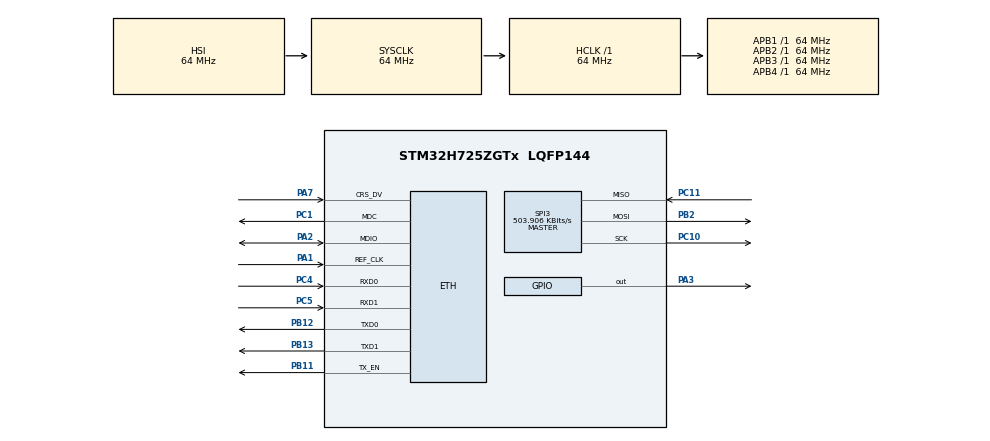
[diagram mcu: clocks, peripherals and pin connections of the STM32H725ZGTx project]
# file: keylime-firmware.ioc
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CORTEX_M7.AccessPermission_S-Cortex_Memory_Protection_Unit_Region1_Settings_S=MPU_REGION_FULL_ACCESS
CORTEX_M7.AccessPermission_S-Cortex_Memory_Protection_Unit_Region2_Settings_S=MPU_REGION_FULL_ACCESS
CORTEX_M7.BaseAddress_S-Cortex_Memory_Protection_Unit_Region1_Settings_S=0x30000000
CORTEX_M7.BaseAddress_S-Cortex_Memory_Protection_Unit_Region2_Settings_S=0x30000000
CORTEX_M7.CPU_DCache=Enabled
CORTEX_M7.CPU_ICache=Enabled
CORTEX_M7.DisableExec_S-Cortex_Memory_Protection_Unit_Region1_Settings_S=MPU_INSTRUCTION_ACCESS_DISABLE
CORTEX_M7.DisableExec_S-Cortex_Memory_Protection_Unit_Region2_Settings_S=MPU_INSTRUCTION_ACCESS_DISABLE
CORTEX_M7.Enable_S-Cortex_Memory_Protection_Unit_Region1_Settings_S=MPU_REGION_ENABLE
CORTEX_M7.Enable_S-Cortex_Memory_Protection_Unit_Region2_Settings_S=MPU_REGION_ENABLE
CORTEX_M7.IsBufferable_S-Cortex_Memory_Protection_Unit_Region2_Settings_S=MPU_ACCESS_BUFFERABLE
CORTEX_M7.IsShareable_S-Cortex_Memory_Protection_Unit_Region2_Settings_S=MPU_ACCESS_SHAREABLE
CORTEX_M7.Size_S-Cortex_Memory_Protection_Unit_Region1_Settings_S=MPU_REGION_SIZE_32KB
CORTEX_M7.Size_S-Cortex_Memory_Protection_Unit_Region2_Settings_S=MPU_REGION_SIZE_512B
CORTEX_M7.TypeExtField_S-Cortex_Memory_Protection_Unit_Region1_Settings_S=MPU_TEX_LEVEL1
CORTEX_M7.default_mode_Activation=1
ETH.MediaInterface=HAL_ETH_RMII_MODE
ETH.TxDescAddress=0x30000100
FREERTOS.Tasks01=defaultTask,24,512,StartDefaultTask,Default,NULL,Dynamic,NULL,NULL
FREERTOS.configMINIMAL_STACK_SIZE=512
FREERTOS.configUSE_NEWLIB_REENTRANT=1
LWIP.BSP.number=1
LWIP.IP_ADDRESS=192.168.050.010
LWIP.LWIP_DHCP=0
LWIP.LWIP_RAM_HEAP_POINTER=0x30000200
LWIP.MEM_SIZE=32232
LWIP.NETMASK_ADDRESS=255.255.255.000
LWIP.Version=v2.1.2_Cube
LWIP0.BSP.STBoard=false
LWIP0.BSP.api=BSP_COMPONENT_DRIVER
LWIP0.BSP.component=LAN8742
LWIP0.BSP.instance=LAN8742
LWIP0.BSP.name=Driver_PHY
LWIP0.BSP.semaphore=S_LAN8742
LWIP0.BSP.solution=LAN8742
Mcu.Family=STM32H7
Mcu.Name=STM32H725ZGTx
Mcu.Package=LQFP144
NVIC.ETH_IRQn=true\:5\:0\:false\:false\:true\:true\:true\:true\:true
NVIC.PriorityGroup=NVIC_PRIORITYGROUP_4
NVIC.TIM6_DAC_IRQn=true\:15\:0\:false\:false\:true\:false\:false\:true\:true
NVIC.TimeBase=TIM6_DAC_IRQn
NVIC.TimeBaseIP=TIM6
PA1.GPIO_Speed=GPIO_SPEED_FREQ_VERY_HIGH
PA1.Mode=RMII
PA1.Signal=ETH_REF_CLK
PA2.GPIO_Speed=GPIO_SPEED_FREQ_VERY_HIGH
PA2.Mode=RMII
PA2.Signal=ETH_MDIO
PA3.Signal=GPIO_Output
PA7.GPIO_Speed=GPIO_SPEED_FREQ_VERY_HIGH
PA7.Mode=RMII
PA7.Signal=ETH_CRS_DV
PB11.GPIO_Speed=GPIO_SPEED_FREQ_VERY_HIGH
PB11.Mode=RMII
PB11.Signal=ETH_TX_EN
PB12.GPIO_Speed=GPIO_SPEED_FREQ_VERY_HIGH
PB12.Mode=RMII
PB12.Signal=ETH_TXD0
PB13.GPIO_Speed=GPIO_SPEED_FREQ_VERY_HIGH
PB13.Mode=RMII
PB13.Signal=ETH_TXD1
PB2.GPIO_Mode=GPIO_MODE_AF_PP
PB2.GPIO_PuPd=GPIO_NOPULL
PB2.GPIO_Speed=GPIO_SPEED_FREQ_MEDIUM
PB2.Mode=Full_Duplex_Master
PB2.Signal=SPI3_MOSI
PC1.GPIO_Speed=GPIO_SPEED_FREQ_VERY_HIGH
PC1.Mode=RMII
PC1.Signal=ETH_MDC
PC10.GPIO_PuPd=GPIO_NOPULL
PC10.GPIO_Speed=GPIO_SPEED_FREQ_MEDIUM
PC10.Mode=Full_Duplex_Master
PC10.Signal=SPI3_SCK
PC11.GPIO_Mode=GPIO_MODE_AF_PP
PC11.GPIO_PuPd=GPIO_NOPULL
PC11.GPIO_Speed=GPIO_SPEED_FREQ_MEDIUM
PC11.Mode=Full_Duplex_Master
PC11.Signal=SPI3_MISO
PC4.GPIO_Speed=GPIO_SPEED_FREQ_VERY_HIGH
PC4.Mode=RMII
PC4.Signal=ETH_RXD0
PC5.GPIO_Speed=GPIO_SPEED_FREQ_VERY_HIGH
PC5.Mode=RMII
PC5.Signal=ETH_RXD1
ProjectManager.HeapSize=0x200
ProjectManager.StackSize=0x400
ProjectManager.TargetToolchain=STM32CubeIDE
RCC.ADCFreq_Value=129000000
RCC.APB1Freq_Value=64000000
RCC.APB2Freq_Value=64000000
RCC.APB3Freq_Value=64000000
RCC.APB4Freq_Value=64000000
RCC.CortexFreq_Value=64000000
RCC.HCLKFreq_Value=64000000
RCC.PWR_Regulator_Voltage_Scale=PWR_REGULATOR_VOLTAGE_SCALE0
RCC.SYSCLKFreq_VALUE=64000000
RCC.SupplySource=PWR_LDO_SUPPLY
RCC.USBFreq_Value=129000000
SPI3.BaudRatePrescaler=SPI_BAUDRATEPRESCALER_256
SPI3.CalculateBaudRate=503.906 KBits/s
SPI3.DataSize=SPI_DATASIZE_8BIT
SPI3.Direction=SPI_DIRECTION_2LINES
SPI3.Mode=SPI_MODE_MASTER
SPI3.VirtualType=VM_MASTER
VP_FREERTOS_VS_CMSIS_V2.Mode=CMSIS_V2
VP_LWIP_VS_Enabled.Mode=Enabled
VP_MEMORYMAP_VS_MEMORYMAP.Mode=CurAppReg
VP_SYS_VS_tim6.Mode=TIM6
board=custom

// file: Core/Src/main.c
/* USER CODE BEGIN Header */
/**
  ******************************************************************************
  * @file           : main.c
  * @brief          : Main program body
  ******************************************************************************
  * @attention
  *
  * Copyright (c) 2025 STMicroelectronics.
  * All rights reserved.
  *
  * This software is licensed under terms that can be found in the LICENSE file
  * in the root directory of this software component.
  * If no LICENSE file comes with this software, it is provided AS-IS.
  *
  ******************************************************************************
  */
/* USER CODE END Header */
#include "main.h"
#include "cmsis_os.h"
#include "lwip.h"

/* USER CODE BEGIN Includes */
#include "MS5611.h"
/* USER CODE END Includes */

SPI_HandleTypeDef hspi3;

/* Definitions for defaultTask */
osThreadId_t defaultTaskHandle;
const osThreadAttr_t defaultTask_attributes = {
  .name = "defaultTask",
  .stack_size = 512 * 4,
  .priority = (osPriority_t) osPriorityNormal,
};

void SystemClock_Config(void);
static void MPU_Config(void);
static void MX_GPIO_Init(void);
static void MX_SPI3_Init(void);
void StartDefaultTask(void *argument);

int main(void)
{

  /* MPU Configuration--------------------------------------------------------*/
  MPU_Config();

  /* Enable the CPU Cache */

  /* Enable I-Cache---------------------------------------------------------*/
  SCB_EnableICache();

  /* Enable D-Cache---------------------------------------------------------*/
  SCB_EnableDCache();

  /* MCU Configuration--------------------------------------------------------*/

  /* Reset of all peripherals, Initializes the Flash interface and the Systick. */
  HAL_Init();

  /* Configure the system clock */
  SystemClock_Config();

  /* Initialize all configured peripherals */
  MX_GPIO_Init();
  MX_SPI3_Init();

  /* Init scheduler */
  osKernelInitialize();

  /* Create the thread(s) */
  /* creation of defaultTask */
  defaultTaskHandle = osThreadNew(StartDefaultTask, NULL, &defaultTask_attributes);

  /* Start scheduler */
  osKernelStart();

  /* We should never get here as control is now taken by the scheduler */

  /* Infinite loop */
  while (1)
  {

  }
}

void SystemClock_Config(void)
{
  RCC_OscInitTypeDef RCC_OscInitStruct = {0};
  RCC_ClkInitTypeDef RCC_ClkInitStruct = {0};

  /** Supply configuration update enable
  */
  HAL_PWREx_ConfigSupply(PWR_LDO_SUPPLY);

  /** Configure the main internal regulator output voltage
  */
  __HAL_PWR_VOLTAGESCALING_CONFIG(PWR_REGULATOR_VOLTAGE_SCALE0);

  while(!__HAL_PWR_GET_FLAG(PWR_FLAG_VOSRDY)) {}

  /** Initializes the RCC Oscillators according to the specified parameters
  * in the RCC_OscInitTypeDef structure.
  */
  RCC_OscInitStruct.OscillatorType = RCC_OSCILLATORTYPE_HSI;
  RCC_OscInitStruct.HSIState = RCC_HSI_DIV1;
  RCC_OscInitStruct.HSICalibrationValue = 64;
  RCC_OscInitStruct.PLL.PLLState = RCC_PLL_ON;
  RCC_OscInitStruct.PLL.PLLSource = RCC_PLLSOURCE_HSI;
  RCC_OscInitStruct.PLL.PLLM = 32;
  RCC_OscInitStruct.PLL.PLLN = 129;
  RCC_OscInitStruct.PLL.PLLP = 2;
  RCC_OscInitStruct.PLL.PLLQ = 2;
  RCC_OscInitStruct.PLL.PLLR = 2;
  RCC_OscInitStruct.PLL.PLLRGE = RCC_PLL1VCIRANGE_1;
  RCC_OscInitStruct.PLL.PLLVCOSEL = RCC_PLL1VCOWIDE;
  RCC_OscInitStruct.PLL.PLLFRACN = 0;
  if (HAL_RCC_OscConfig(&RCC_OscInitStruct) != HAL_OK)
  {
    Error_Handler();
  }

  /** Initializes the CPU, AHB and APB buses clocks
  */
  RCC_ClkInitStruct.ClockType = RCC_CLOCKTYPE_HCLK|RCC_CLOCKTYPE_SYSCLK
                              |RCC_CLOCKTYPE_PCLK1|RCC_CLOCKTYPE_PCLK2
                              |RCC_CLOCKTYPE_D3PCLK1|RCC_CLOCKTYPE_D1PCLK1;
  RCC_ClkInitStruct.SYSCLKSource = RCC_SYSCLKSOURCE_HSI;
  RCC_ClkInitStruct.SYSCLKDivider = RCC_SYSCLK_DIV1;
  RCC_ClkInitStruct.AHBCLKDivider = RCC_HCLK_DIV1;
  RCC_ClkInitStruct.APB3CLKDivider = RCC_APB3_DIV1;
  RCC_ClkInitStruct.APB1CLKDivider = RCC_APB1_DIV1;
  RCC_ClkInitStruct.APB2CLKDivider = RCC_APB2_DIV1;
  RCC_ClkInitStruct.APB4CLKDivider = RCC_APB4_DIV1;

  if (HAL_RCC_ClockConfig(&RCC_ClkInitStruct, FLASH_LATENCY_0) != HAL_OK)
  {
    Error_Handler();
  }
}

static void MX_SPI3_Init(void)
{

  /* SPI3 parameter configuration*/
  hspi3.Instance = SPI3;
  hspi3.Init.Mode = SPI_MODE_MASTER;
  hspi3.Init.Direction = SPI_DIRECTION_2LINES;
  hspi3.Init.DataSize = SPI_DATASIZE_8BIT;
  hspi3.Init.CLKPolarity = SPI_POLARITY_LOW;
  hspi3.Init.CLKPhase = SPI_PHASE_1EDGE;
  hspi3.Init.NSS = SPI_NSS_SOFT;
  hspi3.Init.BaudRatePrescaler = SPI_BAUDRATEPRESCALER_256;
  hspi3.Init.FirstBit = SPI_FIRSTBIT_MSB;
  hspi3.Init.TIMode = SPI_TIMODE_DISABLE;
  hspi3.Init.CRCCalculation = SPI_CRCCALCULATION_DISABLE;
  hspi3.Init.CRCPolynomial = 0x0;
  hspi3.Init.NSSPMode = SPI_NSS_PULSE_ENABLE;
  hspi3.Init.NSSPolarity = SPI_NSS_POLARITY_LOW;
  hspi3.Init.FifoThreshold = SPI_FIFO_THRESHOLD_01DATA;
  hspi3.Init.TxCRCInitializationPattern = SPI_CRC_INITIALIZATION_ALL_ZERO_PATTERN;
  hspi3.Init.RxCRCInitializationPattern = SPI_CRC_INITIALIZATION_ALL_ZERO_PATTERN;
  hspi3.Init.MasterSSIdleness = SPI_MASTER_SS_IDLENESS_00CYCLE;
  hspi3.Init.MasterInterDataIdleness = SPI_MASTER_INTERDATA_IDLENESS_00CYCLE;
  hspi3.Init.MasterReceiverAutoSusp = SPI_MASTER_RX_AUTOSUSP_DISABLE;
  hspi3.Init.MasterKeepIOState = SPI_MASTER_KEEP_IO_STATE_DISABLE;
  hspi3.Init.IOSwap = SPI_IO_SWAP_DISABLE;
  if (HAL_SPI_Init(&hspi3) != HAL_OK)
  {
    Error_Handler();
  }

}

static void MX_GPIO_Init(void)
{
  GPIO_InitTypeDef GPIO_InitStruct = {0};

  /* GPIO Ports Clock Enable */
  __HAL_RCC_GPIOC_CLK_ENABLE();
  __HAL_RCC_GPIOA_CLK_ENABLE();
  __HAL_RCC_GPIOB_CLK_ENABLE();

  /*Configure GPIO pin Output Level */
  HAL_GPIO_WritePin(GPIOA, GPIO_PIN_3, GPIO_PIN_RESET);

  /*Configure GPIO pin : PA3 */
  GPIO_InitStruct.Pin = GPIO_PIN_3;
  GPIO_InitStruct.Mode = GPIO_MODE_OUTPUT_PP;
  GPIO_InitStruct.Pull = GPIO_NOPULL;
  GPIO_InitStruct.Speed = GPIO_SPEED_FREQ_LOW;
  HAL_GPIO_Init(GPIOA, &GPIO_InitStruct);

}

void StartDefaultTask(void *argument)
{
  /* init code for LWIP */
  MX_LWIP_Init();
  /* USER CODE BEGIN 5 */
  MS5611 bar2;
  bar2.hspi = &hspi3;
  bar2.SPI_TIMEOUT = 100;
  bar2.CS_GPIO_Port = GPIOA; // PA3
  bar2.CS_GPIO_Pin = GPIO_PIN_3;
  bar2.pres_offset = 0;
  bar2.alt_offset = 0;

  MS5611_PROM_t prom;
  prom.constants.C1 = 0;
  prom.constants.C2 = 0;
  prom.constants.C3 = 0;
  prom.constants.C4 = 0;
  prom.constants.C5 = 0;
  prom.constants.C6 = 0;

  //int status = 0;
  MS5611_Reset(&bar2);
  MS5611_readPROM(&bar2, &prom);

  float pres = 0.0;

  /* Infinite loop */
  for(;;) {
    MS5611_getPres(&bar2, &pres, &prom, OSR_256);
    osDelay(500);
  }
  /* USER CODE END 5 */
}

 /* MPU Configuration */

void MPU_Config(void)
{
  MPU_Region_InitTypeDef MPU_InitStruct = {0};

  /* Disables the MPU */
  HAL_MPU_Disable();

  /** Initializes and configures the Region and the memory to be protected
  */
  MPU_InitStruct.Enable = MPU_REGION_ENABLE;
  MPU_InitStruct.Number = MPU_REGION_NUMBER0;
  MPU_InitStruct.BaseAddress = 0x0;
  MPU_InitStruct.Size = MPU_REGION_SIZE_4GB;
  MPU_InitStruct.SubRegionDisable = 0x87;
  MPU_InitStruct.TypeExtField = MPU_TEX_LEVEL0;
  MPU_InitStruct.AccessPermission = MPU_REGION_NO_ACCESS;
  MPU_InitStruct.DisableExec = MPU_INSTRUCTION_ACCESS_DISABLE;
  MPU_InitStruct.IsShareable = MPU_ACCESS_SHAREABLE;
  MPU_InitStruct.IsCacheable = MPU_ACCESS_NOT_CACHEABLE;
  MPU_InitStruct.IsBufferable = MPU_ACCESS_NOT_BUFFERABLE;

  HAL_MPU_ConfigRegion(&MPU_InitStruct);

  /** Initializes and configures the Region and the memory to be protected
  */
  MPU_InitStruct.Number = MPU_REGION_NUMBER1;
  MPU_InitStruct.BaseAddress = 0x30000000;
  MPU_InitStruct.Size = MPU_REGION_SIZE_32KB;
  MPU_InitStruct.SubRegionDisable = 0x0;
  MPU_InitStruct.TypeExtField = MPU_TEX_LEVEL1;
  MPU_InitStruct.AccessPermission = MPU_REGION_FULL_ACCESS;
  MPU_InitStruct.IsShareable = MPU_ACCESS_NOT_SHAREABLE;

  HAL_MPU_ConfigRegion(&MPU_InitStruct);

  /** Initializes and configures the Region and the memory to be protected
  */
  MPU_InitStruct.Number = MPU_REGION_NUMBER2;
  MPU_InitStruct.Size = MPU_REGION_SIZE_512B;
  MPU_InitStruct.TypeExtField = MPU_TEX_LEVEL0;
  MPU_InitStruct.IsShareable = MPU_ACCESS_SHAREABLE;
  MPU_InitStruct.IsBufferable = MPU_ACCESS_BUFFERABLE;

  HAL_MPU_ConfigRegion(&MPU_InitStruct);
  /* Enables the MPU */
  HAL_MPU_Enable(MPU_PRIVILEGED_DEFAULT);

}

void HAL_TIM_PeriodElapsedCallback(TIM_HandleTypeDef *htim)
{
  if (htim->Instance == TIM6) {
    HAL_IncTick();
  }
}

void Error_Handler(void)
{
  __disable_irq();
  while (1)
  {
  }
}
